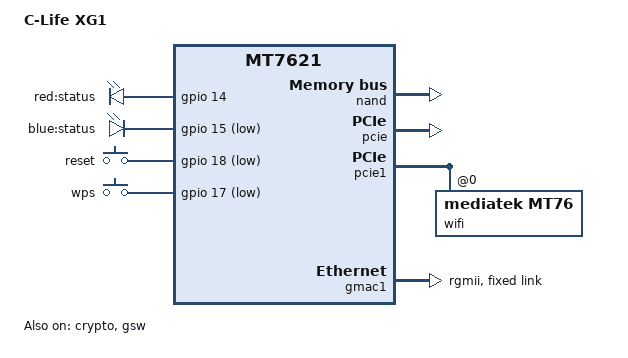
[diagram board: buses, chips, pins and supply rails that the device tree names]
// SPDX-License-Identifier: GPL-2.0-or-later OR MIT

#include "mt7621.dtsi"

#include <dt-bindings/gpio/gpio.h>
#include <dt-bindings/input/input.h>

/ {
	compatible = "c-life,xg1", "mediatek,mt7621-soc";
	model = "C-Life XG1";

	reserved-memory {
		#address-cells = <1>;
		#size-cells = <1>;
		ranges;

		mt76_dma_reserved: buffer@08000000 {
			compatible = "shared-dma-pool";
			size = <0x00200000>; /* 2MB */
        		alloc-ranges = <0x08000000 0x04000000>;
			no-map;
		};

		hnat_dma_reserved: buffer@08200000 {
			compatible = "shared-dma-pool";
			size = <0x00200000>; /* 2MB */
			alloc-ranges = <0x08000000 0x04000000>;
                        no-map;
		};

		eth_dma_reserved: buffer@08400000 {
                        compatible = "shared-dma-pool";
                        size = <0x00200000>; /* 2MB */
                        alloc-ranges = <0x08000000 0x04000000>;
                        no-map;
		};

		crypto_dma_reserved: buffer@08600000 {
			compatible = "shared-dma-pool";
                        size = <0x00200000>; /* 2MB */
                        alloc-ranges = <0x08000000 0x04000000>;
                        no-map;
		};
	};

	aliases {
		led-boot = &led_status_red;
		led-failsafe = &led_status_red;
		led-running = &led_status_blue;
		led-upgrade = &led_status_blue;
		label-mac-device = &gmac0;
	};

	chosen {
		bootargs = "console=ttyS0,115200";
	};

	leds {
		compatible = "gpio-leds";

		led_status_red: status_red {
			label = "red:status";
			gpios = <&gpio 14 GPIO_ACTIVE_HIGH>;
		};

		led_status_blue: status_blue {
			label = "blue:status";
			gpios = <&gpio 15 GPIO_ACTIVE_LOW>;
		};
	};

	keys {
		compatible = "gpio-keys";

		reset {
			label = "reset";
			gpios = <&gpio 18 GPIO_ACTIVE_LOW>;
			linux,code = <KEY_RESTART>;
		};

		wps {
			label = "wps";
			gpios = <&gpio 17 GPIO_ACTIVE_LOW>;
			linux,code = <KEY_WPS_BUTTON>;
		};
	};
};

&nand {
	status = "okay";

	partitions {
		compatible = "fixed-partitions";
		#address-cells = <1>;
		#size-cells = <1>;

		partition@0 {
			label = "Bootloader";
			reg = <0x0 0x80000>;
		};

		partition@80000 {
			label = "Nvram";
			reg = <0x80000 0x40000>;
			read-only;
		};

		partition@c0000 {
			label = "Bdata";
			reg = <0xc0000 0x40000>;
			read-only;
		};

		factory: partition@100000 {
			label = "Factory";
			reg = <0x100000 0x80000>;
			read-only;
		};

		partition@180000 {
			label = "crash";
			reg = <0x180000 0x40000>;
			read-only;
		};

		partition@1c0000 {
			label = "crash_log";
			reg = <0x1c0000 0x40000>;
			read-only;
		};

		partition@200000 {
			label = "kernel";
			reg = <0x200000 0x400000>;
		};

		partition@600000 {
			label = "ubi";
			reg = <0x600000 0x7980000>;
		};
	};
};

&crypto {
	status = "okay";
	memory-region = <&crypto_dma_reserved>;
};

&pcie {
	status = "okay";
	bus-range = <0x00 0xff>;
};

&pcie1 {
	status = "okay";
	wifi@0,0 {
		compatible = "mediatek,mt76";
		reg = <0x0000 0 0 0 0>;
		mediatek,mtd-eeprom = <&factory 0x0>;
		memory-region = <&mt76_dma_reserved>;
	};
};

&ethernet {
	memory-region = <&eth_dma_reserved>;
};

&gmac0 {
	mtd-mac-address = <&factory 0x04>;
};

&gmac1 {
	mtd-mac-address = <&factory 0x0a>;
	phy-mode = "rgmii";
	status = "okay";

	fixed-link {
		speed = <1000>;
		full-duplex;
		pause;
	};
};

&gsw {
	mediatek,portmap = "llllw";
	status = "okay";
};

&hnat {
	//ext-devices = "rax0\0ra0\0rax1\0ra1\0rax2\0ra2\0rax3\0ra3\0apclix0\0apcli0\0br-lan_dhcp";
	mtketh-wan = "eth1";
	mtketh-ppd = "eth0";
	mtketh-lan = "eth0";
	mtketh-max-gmac = <2>;
	/delete-property/ mtkdsa-wan-port;
	memory-region = <&hnat_dma_reserved>;
};

&switch0 {
	status = "disabled";
};

&state_default {
	gpio {
		groups = "jtag", "wdt";
		function = "gpio";
	};
};
/*
&pcie {
    /delete-property/ reset-gpios;
};
*/

/*
&uartlite2 {
        // EFR32BG21 Ble 
        status = "okay";
	pinctrl-names = "default";
	pinctrl-0 = <&uart2_pins>;
	clock-frequency = <50000000>;
};

&uartlite3 {
        // EFR32MG21 Zigbee 
        status = "okay";
	pinctrl-names = "default";
	pinctrl-0 = <&uart3_pins>;
};
*/
